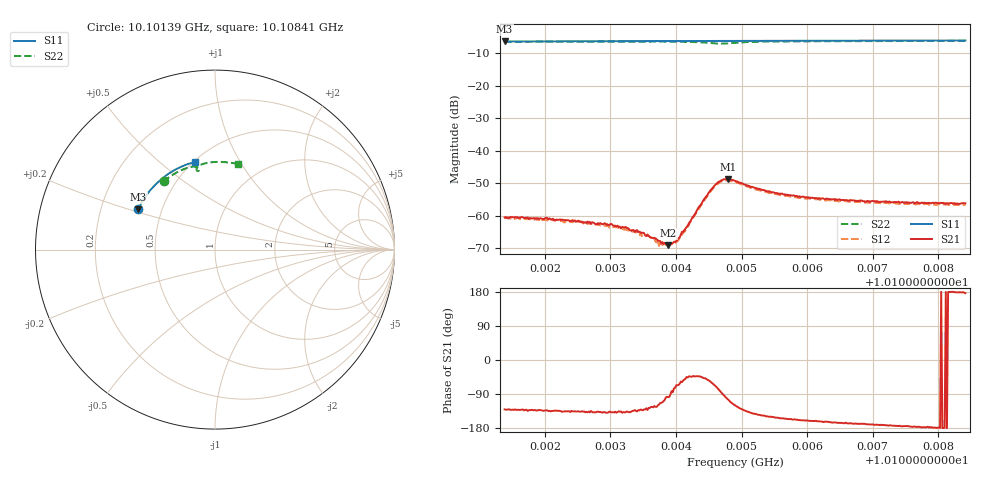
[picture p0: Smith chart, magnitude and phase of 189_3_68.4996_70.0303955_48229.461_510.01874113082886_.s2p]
#  HZ  S  RI  R  50.00
! Rohde & Schwarz Vector Network Analyzer
! Rohde-Schwarz,ZNB20-2Port,1311601062101988,3.16
! Created: UTC 3/20/2024, 4:57:03 PM
! freq[Hz]  re:S11  im:S11  re:S21  im:S21  re:S12  im:S12  re:S22  im:S22
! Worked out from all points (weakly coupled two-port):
!   401 points, 10.10139 GHz to 10.10841 GHz, reference 50 ohm
!   highest |S21| = -48.75 dB at 10.10479 GHz (marker M1); lowest = -69.1 dB at 10.10388 GHz (marker M2)
!   lowest |S11| = -6.3 dB at 10.10139 GHz (marker M3), VSWR 2.87, Z = 18.4 + j10.8 ohm
!   |S11| at or under -10 dB: nowhere
!   |S22| runs from -7.0 to -6.1 dB; largest |S21 - S12| = 0.00037
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1.0101388e10  -0.4275 0.2252  -0.000604 -0.000711  -0.000537 -0.000727  -0.2866 0.3796
1.0102038e10  -0.4094 0.2603  -0.000623 -0.000674  -0.000521 -0.000659  -0.2529 0.4053
1.0102564e10  -0.3929 0.2877  -0.000574 -0.000567  -0.000537 -0.000573  -0.2237 0.4237
1.0103109e10  -0.3735 0.3147  -0.000515 -0.000471  -0.000453 -0.000479  -0.1915 0.4405
1.0103232e10  -0.369 0.3206  -0.000499 -0.000447  -0.000409 -0.000449  -0.184 0.4439
1.0103478e10  -0.3596 0.3322  -0.000356 -0.000403  -0.000311 -0.000376  -0.1683 0.4506
1.0103566e10  -0.3562 0.3363  -0.000341 -0.00038  -0.00028 -0.000396  -0.1626 0.4525
1.0103741e10  -0.3491 0.3443  -0.000187 -0.000363  -0.000128 -0.000317  -0.1506 0.4566
1.0103882e10  -0.3432 0.3507  -5.06e-05 -0.000345  4.73e-06 -0.000361  -0.1405 0.4593
1.0103987e10  -0.3388 0.3554  0.000113 -0.000379  0.000115 -0.000351  -0.1325 0.461
1.0104057e10  -0.3359 0.3582  0.00021 -0.000409  0.000263 -0.000369  -0.127 0.4617
1.010418e10  -0.3308 0.3636  0.000488 -0.000503  0.000504 -0.00045  -0.117 0.4623
1.0104409e10  -0.3207 0.3732  0.00114 -0.0012  0.00119 -0.00105  -0.0969 0.4574
1.0104567e10  -0.3135 0.3796  0.00124 -0.00242  0.0014 -0.00224  -0.0888 0.4454
1.010469e10  -0.3081 0.3845  0.000288 -0.00348  0.000571 -0.0033  -0.0941 0.4377
1.0104795e10  -0.3033 0.3887  -0.0009 -0.00354  -0.000578 -0.00344  -0.1012 0.4412
1.01049e10  -0.2986 0.3928  -0.0017 -0.00298  -0.00135 -0.00301  -0.1024 0.4503
1.0105374e10  -0.276 0.4106  -0.00206 -0.00125  -0.00184 -0.00137  -0.0727 0.4755
1.0105814e10  -0.254 0.4257  -0.00184 -0.0008  -0.0017 -0.000894  -0.0417 0.4836
1.0106077e10  -0.2406 0.4342  -0.00179 -0.000621  -0.00164 -0.000747  -0.0239 0.4862
1.0107254e10  -0.177 0.4663  -0.00164 -0.000222  -0.00151 -0.000338  0.0535 0.4878
1.0108413e10  -0.1106 0.4888  -0.00154 9.79e-05  -0.00147 -7.91e-05  0.1272 0.4765
